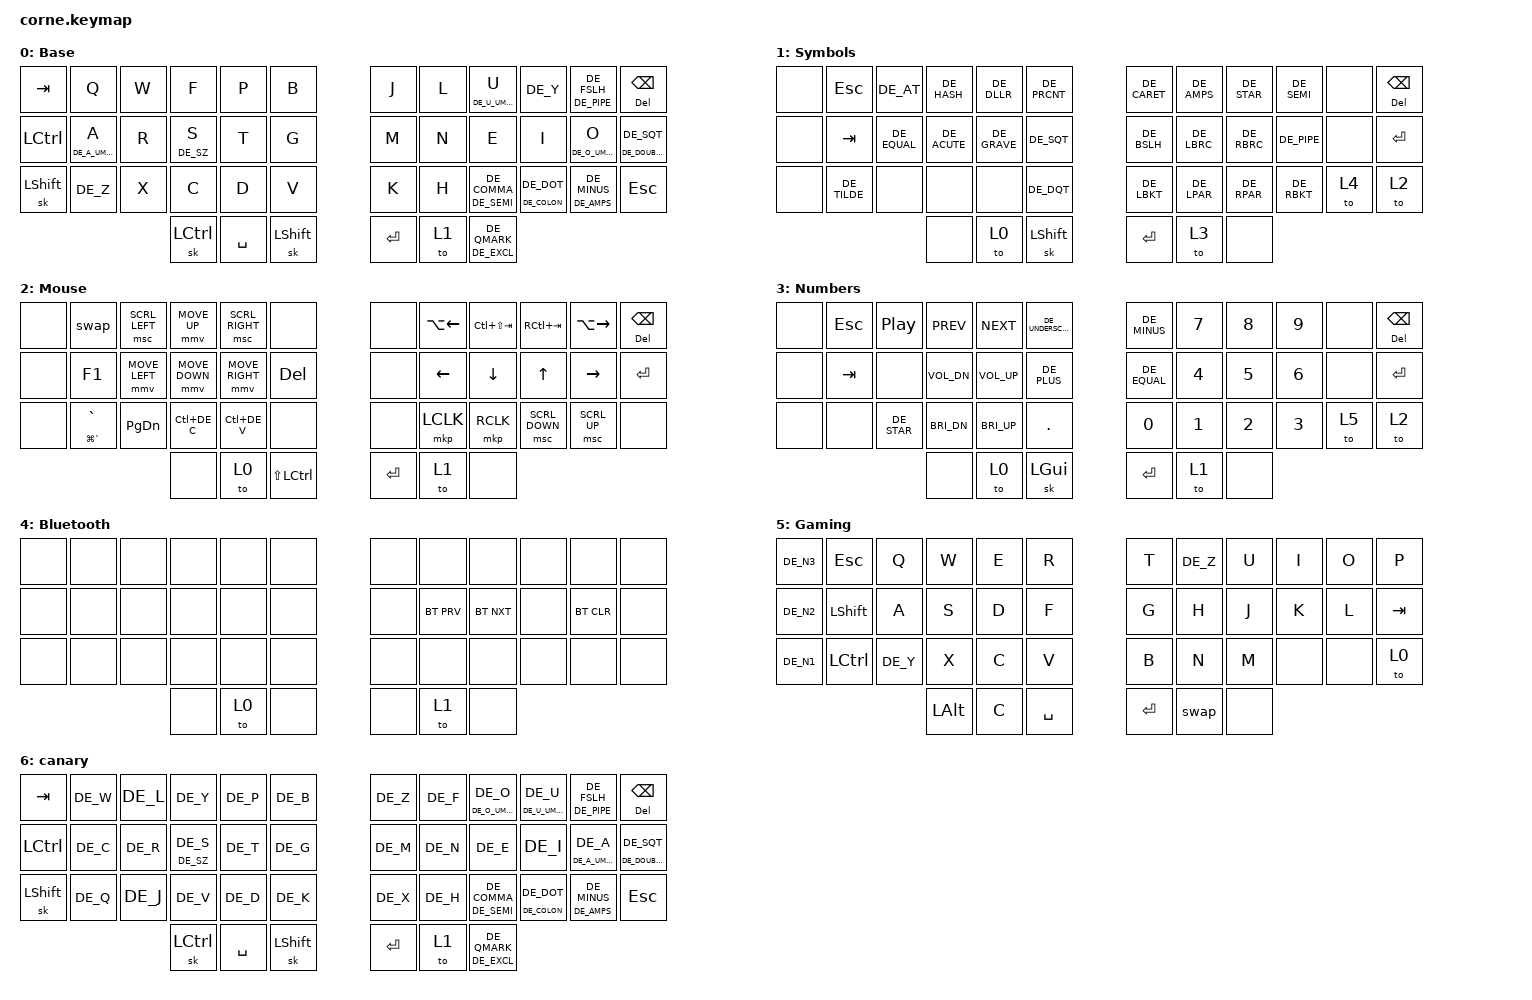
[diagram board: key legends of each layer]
/*
 * Copyright (c) 2020 The ZMK Contributors
 *
 * SPDX-License-Identifier: MIT
 */

#include "keys_de.h"
#include <behaviors.dtsi>
#include <dt-bindings/zmk/bt.h>
#include <dt-bindings/zmk/keys.h>
#include <dt-bindings/zmk/mouse.h>

chosen {
      zmk,matrix_transform = &five_column_transform;
    };

&mt {
    flavor = "tap-preferred";
    tapping_term_ms = <200>;
};

&mmv {
    time-to-max-speed-ms = <680>;
    acceleration-exponent = <2>;
};

/ {
    behaviors {
        hm: homerow_mods {
            compatible = "zmk,behavior-hold-tap";
            label = "HOMEROW_MODS";
            #binding-cells = <2>;
            tapping-term-ms = <200>;
            quick_tap_ms = <0>;
            flavor = "tap-preferred";
            bindings = <&kp>, <&kp>;
        };

        td: tapdance {
            compatible = "zmk,behavior-hold-tap";
            label = "TAPDANCE";
            #binding-cells = <2>;
            tapping-term-ms = <250>;
            quick_tap_ms = <0>;
            flavor = "tap-preferred";
            bindings = <&kp>, <&kp>;
        };

        swap: swapper {
            compatible = "zmk,behavior-tri-state";
            label = "SWAPPER";
            #binding-cells = <0>;
            bindings = <&kt LALT>, <&kp TAB>, <&kt LALT>;

            timeout-ms = <1000>;
        };
    };

    combos {
        compatible = "zmk,combos";

        G4 {
            bindings = <&kp DE_N4>;
            key-positions = <12 24>;
            layers = <5>;
        };

        G5 {
            bindings = <&kp DE_N5>;
            key-positions = <12 0>;
            layers = <5>;
        };

        G6 {
            bindings = <&kp DE_N6>;
            key-positions = <0 24>;
            layers = <5>;
        };

        Gthing {
            bindings = <&kp DE_CARET>;
            key-positions = <0 24 12>;
            layers = <5>;
        };

        toCanary {
            bindings = <&to 6>;
            key-positions = <19 20 21>;
            layers = <0>;
        };

        toBase {
            bindings = <&to 0>;
            key-positions = <19 20 21>;
            layers = <6>;
        };
    };

    keymap {
        compatible = "zmk,keymap";

        zero_layer {
            display-name = "Base";
            bindings = <
&kp TAB    &kp Q              &kp W  &kp F             &kp P      &kp B        &kp J    &kp L  &td DE_U_UMLAUT U     &kp DE_Y             &td DE_PIPE DE_FSLH   &td DELETE BACKSPACE
&kp LCTRL  &td DE_A_UMLAUT A  &kp R  &td DE_SZ S       &kp T      &kp G        &kp M    &kp N  &kp E                 &kp I                &td DE_O_UMLAUT O     &td DE_DOUBLE_QUOTES DE_SQT
&sk LSHFT  &kp DE_Z           &kp X  &kp C             &kp D      &kp V        &kp K    &kp H  &td DE_SEMI DE_COMMA  &td DE_COLON DE_DOT  &td DE_AMPS DE_MINUS  &kp ESC
                                     &sk LEFT_CONTROL  &kp SPACE  &sk LSHFT    &kp RET  &to 1  &td DE_EXCL DE_QMARK
            >;
        };

        first_layer {
            display-name = "Symbols";
            bindings = <
&none  &kp ESC       &kp DE_AT     &kp DE_HASH   &kp DE_DLLR   &kp DE_PRCNT    &kp DE_CARET  &kp DE_AMPS  &kp DE_STAR  &kp DE_SEMI  &none  &td DELETE BACKSPACE
&none  &kp TAB       &kp DE_EQUAL  &kp DE_ACUTE  &kp DE_GRAVE  &kp DE_SQT      &kp DE_BSLH   &kp DE_LBRC  &kp DE_RBRC  &kp DE_PIPE  &none  &kp ENTER
&none  &kp DE_TILDE  &none         &none         &none         &kp DE_DQT      &kp DE_LBKT   &kp DE_LPAR  &kp DE_RPAR  &kp DE_RBKT  &to 4  &to 2
                                   &none         &to 0         &sk LSHIFT      &kp RET       &to 3        &none
            >;
        };

        second_layer {
            display-name = "Mouse";
            bindings = <
&none  &swap                &msc SCRL_LEFT  &mmv MOVE_UP    &msc SCRL_RIGHT  &none                   &none    &kp LA(LEFT)  &kp LC(LS(TAB))  &kp RC(TAB)     &kp LA(RIGHT)  &td DEL BACKSPACE
&none  &kp F1               &mmv MOVE_LEFT  &mmv MOVE_DOWN  &mmv MOVE_RIGHT  &kp DEL                 &none    &kp LEFT      &kp DOWN         &kp UP          &kp RIGHT      &kp ENTER
&none  &td LG(GRAVE) GRAVE  &kp PG_DN       &kp LC(DE_C)    &kp LC(DE_V)     &none                   &none    &mkp LCLK     &mkp RCLK        &msc SCRL_DOWN  &msc SCRL_UP   &none
                                            &none           &to 0            &kp LS(LEFT_CONTROL)    &kp RET  &to 1         &none
            >;
        };

        third_layer {
            display-name = "Numbers";
            bindings = <
&none  &kp ESC  &kp C_PP     &kp C_PREV    &kp C_NEXT    &kp DE_UNDERSCORE    &kp DE_MINUS  &kp N7  &kp N8  &kp N9  &none  &td DEL BSPC
&none  &kp TAB  &none        &kp C_VOL_DN  &kp C_VOL_UP  &kp DE_PLUS          &kp DE_EQUAL  &kp N4  &kp N5  &kp N6  &none  &kp ENTER
&none  &none    &kp DE_STAR  &kp C_BRI_DN  &kp C_BRI_UP  &kp DOT              &kp N0        &kp N1  &kp N2  &kp N3  &to 5  &to 2
                             &none         &to 0         &sk LGUI             &kp RET       &to 1   &none
            >;
        };

        fourth_layer {
            display-name = "Bluetooth";
            bindings = <
&none  &none  &none  &none  &none  &none    &none  &none       &none       &none  &none       &none
&none  &none  &none  &none  &none  &none    &none  &bt BT_PRV  &bt BT_NXT  &none  &bt BT_CLR  &none
&none  &none  &none  &none  &none  &none    &none  &none       &none       &none  &none       &none
                     &none  &to 0  &none    &none  &to 1       &none
            >;
        };

        fifth_layer {
            display-name = "Gaming";
            bindings = <
&kp DE_N3  &kp ESC    &kp Q     &kp W     &kp E  &kp R        &kp T    &kp DE_Z  &kp U  &kp I  &kp O  &kp P
&kp DE_N2  &kp LSHFT  &kp A     &kp S     &kp D  &kp F        &kp G    &kp H     &kp J  &kp K  &kp L  &kp TAB
&kp DE_N1  &kp LCTRL  &kp DE_Y  &kp X     &kp C  &kp V        &kp B    &kp N     &kp M  &none  &none  &to 0
                                &kp LALT  &kp C  &kp SPACE    &kp RET  &swap     &none
            >;
        };

        sixth_layer {
            display-name = "canary";
            bindings = <
&kp TAB    &kp DE_W  &kp DE_L  &kp DE_Y          &kp DE_P   &kp DE_B     &kp DE_Z  &kp DE_F  &td DE_O_UMLAUT DE_O  &td DE_U_UMLAUT DE_U  &td DE_PIPE DE_FSLH   &td DELETE BACKSPACE
&kp LCTRL  &kp DE_C  &kp DE_R  &td DE_SZ DE_S    &kp DE_T   &kp DE_G     &kp DE_M  &kp DE_N  &kp DE_E              &kp DE_I              &td DE_A_UMLAUT DE_A  &td DE_DOUBLE_QUOTES DE_SQT
&sk LSHFT  &kp DE_Q  &kp DE_J  &kp DE_V          &kp DE_D   &kp DE_K     &kp DE_X  &kp DE_H  &td DE_SEMI DE_COMMA  &td DE_COLON DE_DOT   &td DE_AMPS DE_MINUS  &kp ESC
                               &sk LEFT_CONTROL  &kp SPACE  &sk LSHFT    &kp RET   &to 1     &td DE_EXCL DE_QMARK
            >;
        };
    };
};
